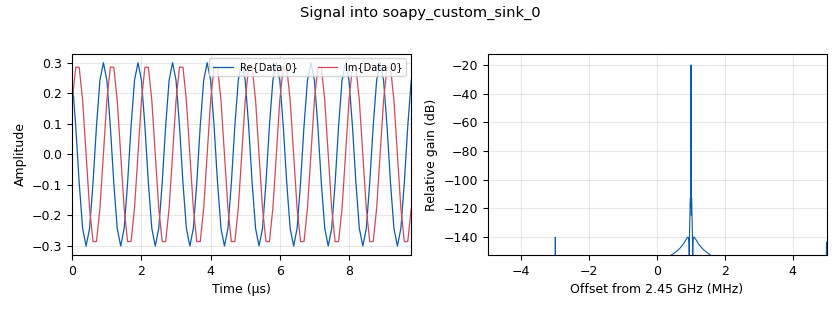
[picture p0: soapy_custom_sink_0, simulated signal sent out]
options:
  parameters:
    description: 'OmniCoreSDR full duplex: a 1 MHz tone out of TX1, spectrum of RX1. Connect TX1 to RX1 through at least 30 dB attenuation, or leave both open to see on-board leakage.'
    generate_options: qt_gui
    id: omnicore_duplex_loopback
    output_language: python
    title: OmniCoreSDR full-duplex loopback
  states: {}

blocks:
- name: samp_rate
  id: variable
  parameters:
    value: 10e6
  states: {}
- name: freq
  id: variable
  parameters:
    comment: 2.45 GHz ISM band
    value: 2.45e9
  states: {}
- name: dev_args
  id: variable
  parameters:
    comment: 'Source and sink share one device: both need the same masks (docs/soapy.md)'
    value: '"rx_mask=1,tx_mask=1"'
  states: {}
- name: tx_gain
  id: variable_qtgui_range
  parameters:
    comment: TX gain = 89.75 - attenuation; 0 is the lowest power
    gui_hint: 0,0,1,1
    label: TX gain (dB)
    start: '0'
    step: '0.25'
    stop: '60'
    value: '20'
  states: {}
- name: rx_gain
  id: variable_qtgui_range
  parameters:
    comment: AD9361 maximum at 1.3-4 GHz is 71 dB
    gui_hint: 0,1,1,1
    label: RX gain (dB)
    start: '-3'
    step: '1'
    stop: '71'
    value: '40'
  states: {}
- name: analog_sig_source_x_0
  id: analog_sig_source_x
  parameters:
    amp: '0.3'
    freq: 1e6
    offset: '0'
    phase: '0'
    samp_rate: samp_rate
    type: complex
    waveform: analog.GR_COS_WAVE
  states: {}
- name: soapy_custom_sink_0
  id: soapy_custom_sink
  parameters:
    antenna1: TX
    center_freq0: freq
    center_freq1: freq
    dev_args: dev_args
    driver: omnicore
    gain0: tx_gain
    gain1: tx_gain
    samp_rate: samp_rate
    type: fc32
  states: {}
- name: soapy_custom_source_0
  id: soapy_custom_source
  parameters:
    antenna1: RX
    center_freq0: freq
    center_freq1: freq
    dc_removal0: 'False'
    dc_removal1: 'False'
    dev_args: dev_args
    driver: omnicore
    gain0: rx_gain
    gain1: rx_gain
    samp_rate: samp_rate
    type: fc32
  states: {}
- name: qtgui_freq_sink_x_0
  id: qtgui_freq_sink_x
  parameters:
    average: '0.2'
    bw: samp_rate
    fc: freq
    fftsize: '2048'
    grid: 'True'
    gui_hint: 1,0,1,2
    name: '"RX1"'
    type: complex
    ymax: '0'
    ymin: '-120'
  states: {}

connections:
- [analog_sig_source_x_0, '0', soapy_custom_sink_0, '0']
- [soapy_custom_source_0, '0', qtgui_freq_sink_x_0, '0']

metadata:
  file_format: 1
